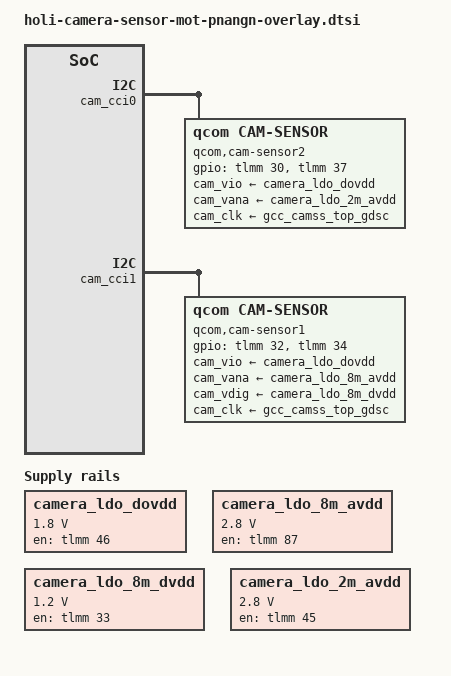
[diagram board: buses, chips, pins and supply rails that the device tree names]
#include <dt-bindings/clock/qcom,gcc-holi.h>
#include <dt-bindings/msm/msm-camera.h>

&tlmm {
	cam_sensor_mclk1_active: cam_sensor_mclk1_active {
		/* MCLK 1*/
		mux {
			pins = "gpio30";
			function = "cam_mclk";
		};

		config {
			pins = "gpio30";
			bias-disable; /* No PULL */
			drive-strength = <4>; /* 4 MA */
		};
	};

	cam_sensor_mclk1_suspend: cam_sensor_mclk1_suspend {
		/* MCLK 1*/
		mux {
			pins = "gpio30";
			function = "cam_mclk";
		};

		config {
			pins = "gpio30";
			bias-pull-down; /* PULL DOWN */
			drive-strength = <4>; /* 4 MA */
		};
	};

	cam_sensor_mclk3_active: cam_sensor_mclk3_active {
		/* MCLK 3*/
		mux {
			pins = "gpio32";
			function = "cam_mclk";
		};

		config {
			pins = "gpio32";
			bias-disable; /* No PULL */
			drive-strength = <2>; /* 2 MA */
		};
	};

	cam_sensor_mclk3_suspend: cam_sensor_mclk3_suspend {
		/* MCLK 3*/
		mux {
			pins = "gpio32";
			function = "cam_mclk";
		};

		config {
			pins = "gpio32";
			bias-pull-down; /* PULL DOWN */
			drive-strength = <2>; /* 2 MA */
		};
	};

	cam_sensor_front_reset_active: cam_sensor_front_reset_active {
		mux {
			pins = "gpio34";
			function = "gpio";
		};

		config {
			pins = "gpio34";
			bias-disable; /* No PULL */
			drive-strength = <2>; /* 2 MA */
		};
	};

	cam_sensor_front_reset_suspend: cam_sensor_front_reset_suspend {
		mux {
			pins = "gpio34";
			function = "gpio";
		};

		config {
			pins = "gpio34";
			bias-pull-down; /* PULL DOWN */
			drive-strength = <2>; /* 2 MA */
			output-low;
		};
	};

	cam_sensor_macro_reset_active: cam_sensor_macro_reset_active {
		mux {
			pins = "gpio37";
			function = "gpio";
		};

		config {
			pins = "gpio37";
			bias-disable; /* No PULL */
			drive-strength = <2>; /* 2 MA */
		};
	};

	cam_sensor_macro_reset_suspend: cam_sensor_macro_reset_suspend {
		mux {
			pins = "gpio37";
			function = "gpio";
		};

		config {
			pins = "gpio37";
			bias-pull-down; /* PULL DOWN */
			drive-strength = <2>; /* 2 MA */
			output-low;
		};
	};

	camera_ldo_dovdd_en: camera_ldo_dovdd_en {
		mux {
			pins = "gpio46";
			function = "gpio";
		};

		config {
			pins = "gpio46";
			bias-disable; /* No PULL */
			drive-strength = <4>; /* 4 MA */
		};
	};

	camera_ldo_8m_avdd_en: camera_ldo_8m_avdd_en {
		mux {
			pins = "gpio87";
			function = "gpio";
		};

		config {
			pins = "gpio87";
			bias-disable; /* No PULL */
			drive-strength = <4>; /* 4 MA */
		};
	};

	camera_ldo_8m_dvdd_en: camera_ldo_8m_dvdd_en {
		mux {
			pins = "gpio33";
			function = "gpio";
		};

		config {
			pins = "gpio33";
			bias-disable; /* No PULL */
			drive-strength = <4>; /* 4 MA */
		};
	};

	camera_ldo_2m_avdd_en: camera_ldo_2m_avdd_en {
		mux {
			pins = "gpio45";
			function = "gpio";
		};

		config {
			pins = "gpio45";
			bias-disable; /* No PULL */
			drive-strength = <4>; /* 4 MA */
		};
	};
};

&soc {
	camera_ldo_dovdd: gpio-regulator@0 {
		compatible = "regulator-fixed";
		reg = <0x00 0x00>;
		regulator-name = "camera_ldo_dovdd";
		regulator-min-microvolt = <1800000>;
		regulator-max-microvolt = <1800000>;
		regulator-enable-ramp-delay = <233>;
		enable-active-high;
		gpio = <&tlmm 46 0>;
		pinctrl-names = "default";
		pinctrl-0 = <&camera_ldo_dovdd_en>;
	};

	camera_ldo_8m_avdd: gpio-regulator@1 {
		compatible = "regulator-fixed";
		reg = <0x01 0x00>;
		regulator-name = "camera_ldo_8m_avdd";
		regulator-min-microvolt = <2800000>;
		regulator-max-microvolt = <2800000>;
		regulator-enable-ramp-delay = <233>;
		enable-active-high;
		gpio = <&tlmm 87 0>;
		pinctrl-names = "default";
		pinctrl-0 = <&camera_ldo_8m_avdd_en>;
	};

	camera_ldo_8m_dvdd: gpio-regulator@2 {
		compatible = "regulator-fixed";
		reg = <0x02 0x00>;
		regulator-name = "camera_ldo_8m_dvdd";
		regulator-min-microvolt = <1200000>;
		regulator-max-microvolt = <1200000>;
		regulator-enable-ramp-delay = <233>;
		enable-active-high;
		gpio = <&tlmm 33 0>;
		pinctrl-names = "default";
		pinctrl-0 = <&camera_ldo_8m_dvdd_en>;
	};

	camera_ldo_2m_avdd: gpio-regulator@3 {
		compatible = "regulator-fixed";
		reg = <0x03 0x00>;
		regulator-name = "camera_ldo_2m_avdd";
		regulator-min-microvolt = <2800000>;
		regulator-max-microvolt = <2800000>;
		regulator-enable-ramp-delay = <233>;
		enable-active-high;
		gpio = <&tlmm 45 0>;
		pinctrl-names = "default";
		pinctrl-0 = <&camera_ldo_2m_avdd_en>;
	};

	qcom,cam-res-mgr {
		compatible = "qcom,cam-res-mgr";
		status = "ok";
	};
};

&cam_cci0 {
	/*MOTO Rear Aux 2M*/
	qcom,cam-sensor2 {
		cell-index = <2>;
		compatible = "qcom,cam-sensor";
		csiphy-sd-index = <1>;
		sensor-position-roll = <90>;
		sensor-position-pitch = <0>;
		sensor-position-yaw = <180>;
		cam_vio-supply = <&camera_ldo_dovdd>;
		cam_vana-supply = <&camera_ldo_2m_avdd>;
		cam_clk-supply = <&gcc_camss_top_gdsc>;
		regulator-names = "cam_vio", "cam_vana", "cam_clk";
		rgltr-cntrl-support;
		rgltr-min-voltage = <1800000 2800000 0>;
		rgltr-max-voltage = <1800000 2800000 0>;
		rgltr-load-current = <120000 80000 0>;
		gpio-no-mux = <0>;
		pinctrl-names = "cam_default", "cam_suspend";
		pinctrl-0 = <&cam_sensor_mclk1_active
				&cam_sensor_macro_reset_active>;
		pinctrl-1 = <&cam_sensor_mclk1_suspend
				&cam_sensor_macro_reset_suspend>;
		gpios = <&tlmm 30 0>,
			<&tlmm 37 0>;
		gpio-reset = <1>;
		gpio-req-tbl-num = <0 1>;
		gpio-req-tbl-flags = <1 0>;
		gpio-req-tbl-label = "CAMIF_MCLK1",
					"CAM_RESET3";
		sensor-mode = <0>;
		cci-master = <1>;
		status = "ok";
		clocks = <&gcc GCC_CAMSS_MCLK1_CLK>;
		clock-names = "cam_clk";
		clock-cntl-level = "turbo";
		clock-rates = <24000000>;
	};
};

&cam_cci1 {
	/*MOTO Front 8M*/
	qcom,cam-sensor1 {
		cell-index = <1>;
		compatible = "qcom,cam-sensor";
		csiphy-sd-index = <3>;
		sensor-position-roll = <270>;
		sensor-position-pitch = <0>;
		sensor-position-yaw = <0>;
		cam_vio-supply = <&camera_ldo_dovdd>;
		cam_vana-supply = <&camera_ldo_8m_avdd>;
		cam_vdig-supply = <&camera_ldo_8m_dvdd>;
		cam_clk-supply = <&gcc_camss_top_gdsc>;
		regulator-names = "cam_vio", "cam_vana", "cam_vdig",
			"cam_clk";
		rgltr-cntrl-support;
		rgltr-min-voltage = <1800000 2800000 1200000 0>;
		rgltr-max-voltage = <1800000 2800000 1200000 0>;
		rgltr-load-current = <120000 80000 1200000 0>;
		gpio-no-mux = <0>;
		pinctrl-names = "cam_default", "cam_suspend";
		pinctrl-0 = <&cam_sensor_mclk3_active
				&cam_sensor_front_reset_active>;
		pinctrl-1 = <&cam_sensor_mclk3_suspend
				&cam_sensor_front_reset_suspend>;
		gpios = <&tlmm 32 0>,
			<&tlmm 34 0>;
		gpio-reset = <1>;
		gpio-req-tbl-num = <0 1>;
		gpio-req-tbl-flags = <1 0>;
		gpio-req-tbl-label = "CAMIF_MCLK3",
					"CAM_RESET1";
		sensor-mode = <0>;
		cci-master = <0>;
		status = "ok";
		clocks = <&gcc GCC_CAMSS_MCLK3_CLK>;
		clock-names = "cam_clk";
		clock-cntl-level = "turbo";
		clock-rates = <24000000>;
	};
};
